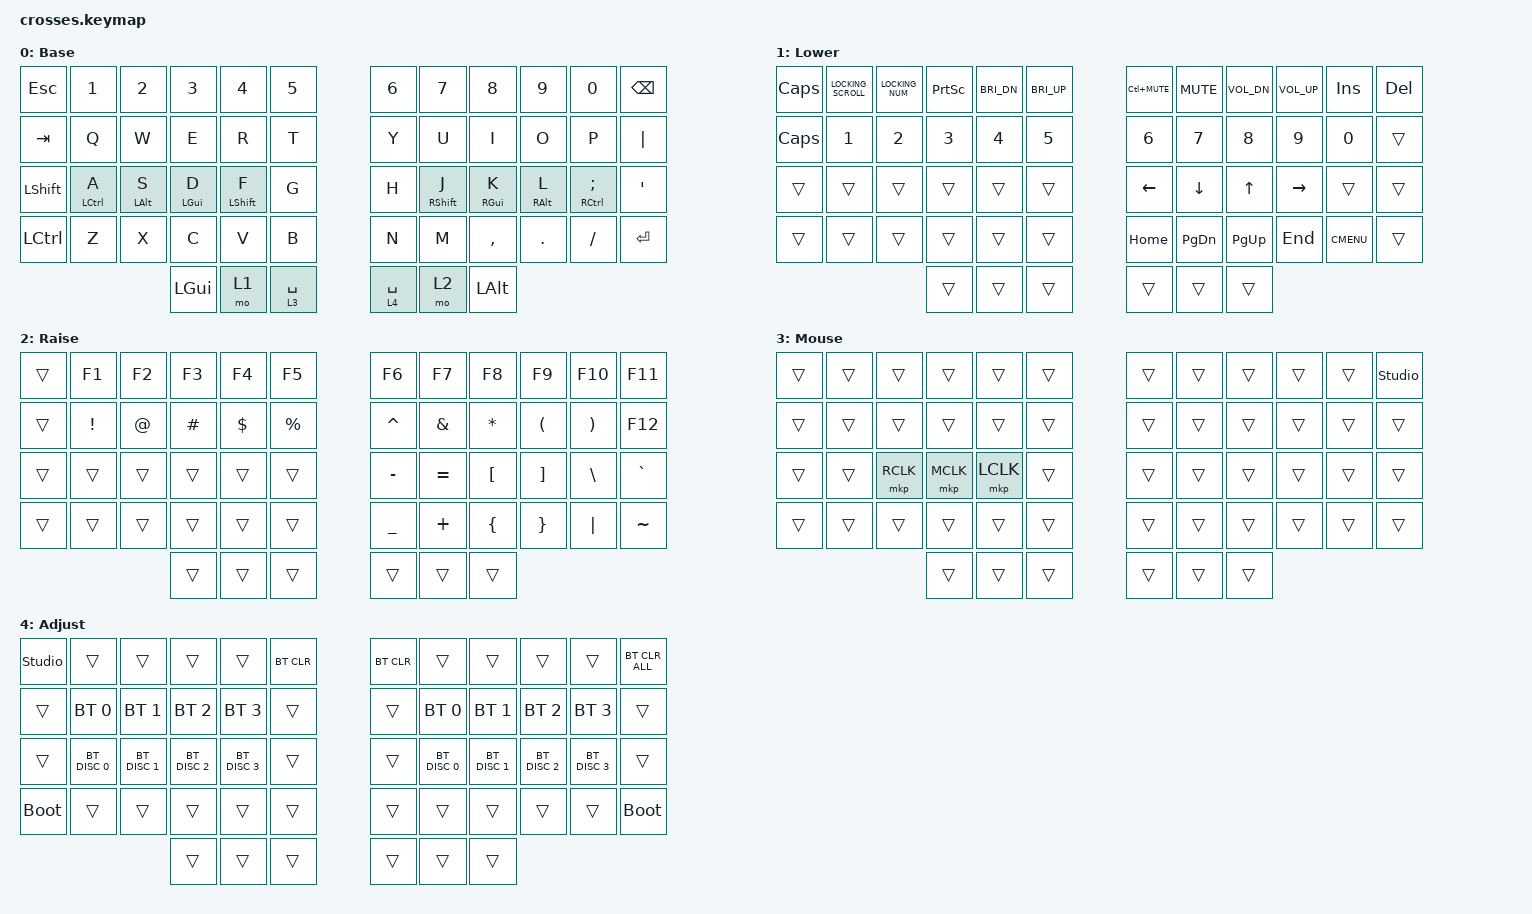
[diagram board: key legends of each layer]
#include <scroll-snap.dtsi>
#include <behaviors/num_word.dtsi>
#include <behaviors.dtsi>
#include <dt-bindings/zmk/bt.h>
#include <dt-bindings/zmk/keys.h>
#include <dt-bindings/zmk/pointing.h>

&caps_word {
    // Tells Caps Word to stay alive if you type an underscore, minus, or backspace

    continue-list = <MINUS LSHIFT BACKSPACE DELETE>;
};

&num_word { continue-list = <DOT COMMA BACKSPACE DELETE>; };

/ {
    behaviors {
        // Home Row Mod for the LEFT hand (Triggers only if a RIGHT hand key is pressed)

        hrm_left: hrm_left {
            compatible = "zmk,behavior-hold-tap";
            #binding-cells = <2>;
            flavor = "balanced";
            tapping-term-ms = <170>;
            quick-tap-ms = <120>;
            require-prior-idle-ms = <120>; // Highly recommended for HRM to prevent mid-word misfires
            bindings = <&kp>, <&kp>;

            // The array of all RIGHT-hand keys

            hold-trigger-key-positions = <6 7 8 9 10 11 18 19 20 21 22 23 30 31 32 33 34 35 42 43 44 45 46 47 51 52 53>;
        };

        // Home Row Mod for the RIGHT hand (Triggers only if a LEFT hand key is pressed)

        hrm_right: hrm_right {
            compatible = "zmk,behavior-hold-tap";
            #binding-cells = <2>;
            flavor = "balanced";
            tapping-term-ms = <170>;
            quick-tap-ms = <120>;
            require-prior-idle-ms = <120>;
            bindings = <&kp>, <&kp>;

            // The array of all LEFT-hand keys

            hold-trigger-key-positions = <0 1 2 3 4 5 12 13 14 15 16 17 24 25 26 27 28 29 36 37 38 39 40 41 48 49 50>;
        };
    };

    chosen { zmk,physical-layout = &gggw_crosses_54_layout; };

    combos {
        compatible = "zmk,combos";

        backspace {
            bindings = <&kp BACKSPACE>;
            key-positions = <31 32>;
        };
    };

    keymap {
        compatible = "zmk,keymap";

        default_layer {
            display-name = "Base";
            bindings = <
&kp ESCAPE        &kp N1             &kp N2            &kp N3            &kp N4              &kp N5       &kp N6       &kp N7               &kp N8             &kp N9             &kp N0                 &kp BACKSPACE
&kp TAB           &kp Q              &kp W             &kp E             &kp R               &kp T        &kp Y        &kp U                &kp I              &kp O              &kp P                  &kp PIPE
&kp LEFT_SHIFT    &hrm_left LCTRL A  &hrm_left LALT S  &hrm_left LGUI D  &hrm_left LSHIFT F  &kp G        &kp H        &hrm_right RSHIFT J  &hrm_right RGUI K  &hrm_right RALT L  &hrm_right RCTRL SEMI  &kp SQT
&kp LEFT_CONTROL  &kp Z              &kp X             &kp C             &kp V               &kp B        &kp N        &kp M                &kp COMMA          &kp DOT            &kp FSLH               &kp ENTER
                                                       &kp LEFT_GUI      &mo 1               &lt 3 SPACE  &lt 4 SPACE  &mo 2                &kp LEFT_ALT
            >;
        };

        lower_layer {
            display-name = "Lower";
            bindings = <
&kp CAPSLOCK  &kp LOCKING_SCROLL  &kp LOCKING_NUM  &kp PRINTSCREEN  &kp C_BRI_DN  &kp C_BRI_UP  &kp LC(K_MUTE)  &kp K_MUTE  &kp C_VOL_DN  &kp C_VOL_UP  &kp INS      &kp DEL
&kp CAPSLOCK  &kp N1              &kp N2           &kp N3           &kp N4        &kp N5        &kp N6          &kp N7      &kp N8        &kp N9        &kp N0       &trans
&trans        &trans              &trans           &trans           &trans        &trans        &kp LEFT        &kp DOWN    &kp UP        &kp RIGHT     &trans       &trans
&trans        &trans              &trans           &trans           &trans        &trans        &kp HOME        &kp PG_DN   &kp PG_UP     &kp END       &kp K_CMENU  &trans
                                                   &trans           &trans        &trans        &trans          &trans      &trans
            >;
        };

        raise_layer {
            display-name = "Raise";
            bindings = <
&trans  &kp F1    &kp F2  &kp F3    &kp F4    &kp F5     &kp F6     &kp F7     &kp F8        &kp F9    &kp F10   &kp F11
&trans  &kp EXCL  &kp AT  &kp HASH  &kp DLLR  &kp PRCNT  &kp CARET  &kp AMPS   &kp ASTERISK  &kp LPAR  &kp RPAR  &kp F12
&trans  &trans    &trans  &trans    &trans    &trans     &kp MINUS  &kp EQUAL  &kp LBKT      &kp RBKT  &kp BSLH  &kp GRAVE
&trans  &trans    &trans  &trans    &trans    &trans     &kp UNDER  &kp PLUS   &kp LBRC      &kp RBRC  &kp PIPE  &kp TILDE
                          &trans    &trans    &trans     &trans     &trans     &trans
            >;
        };

        mouse_layer {
            display-name = "Mouse";
            bindings = <
&trans  &trans  &trans     &trans     &trans     &trans  &trans  &trans  &trans  &trans  &trans  &studio_unlock
&trans  &trans  &trans     &trans     &trans     &trans  &trans  &trans  &trans  &trans  &trans  &trans
&trans  &trans  &mkp RCLK  &mkp MCLK  &mkp LCLK  &trans  &trans  &trans  &trans  &trans  &trans  &trans
&trans  &trans  &trans     &trans     &trans     &trans  &trans  &trans  &trans  &trans  &trans  &trans
                           &trans     &trans     &trans  &trans  &trans  &trans
            >;
        };

        adjust_layer {
            bindings = <
&studio_unlock  &trans         &trans         &trans         &trans         &bt BT_CLR  &bt BT_CLR  &trans         &trans         &trans         &trans         &bt BT_CLR_ALL
&trans          &bt BT_SEL 0   &bt BT_SEL 1   &bt BT_SEL 2   &bt BT_SEL 3   &trans      &trans      &bt BT_SEL 0   &bt BT_SEL 1   &bt BT_SEL 2   &bt BT_SEL 3   &trans
&trans          &bt BT_DISC 0  &bt BT_DISC 1  &bt BT_DISC 2  &bt BT_DISC 3  &trans      &trans      &bt BT_DISC 0  &bt BT_DISC 1  &bt BT_DISC 2  &bt BT_DISC 3  &trans
&bootloader     &trans         &trans         &trans         &trans         &trans      &trans      &trans         &trans         &trans         &trans         &bootloader
                                              &trans         &trans         &trans      &trans      &trans         &trans
            >;

            label = "Adjust";
        };
    };
};
